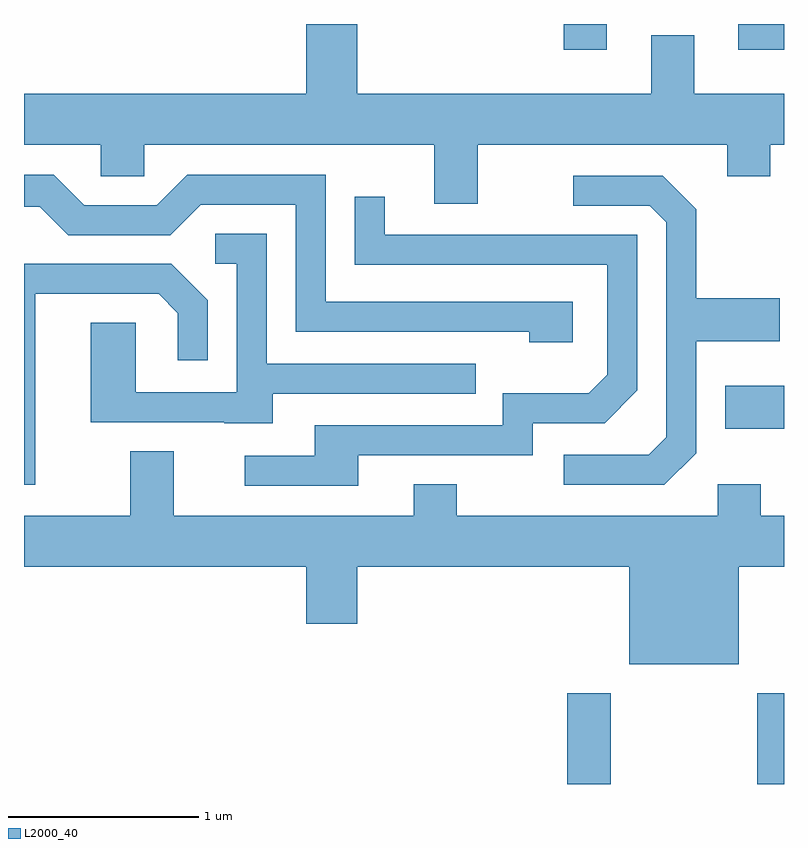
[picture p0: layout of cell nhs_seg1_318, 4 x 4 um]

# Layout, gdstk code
import gdstk
lib = gdstk.Library(unit=1e-6, precision=1e-09)
def R(c, l, rs):  # rectangles x0, y0, x1, y1
    for r in rs: c.add(gdstk.rectangle(r[:2], r[2:], *l))
def P(c, l, *ps):  # polygons
    for p in ps: c.add(gdstk.Polygon(p, *l))
L2000_40 = (2000, 40)

nhs_seg1_318 = lib.new_cell('nhs_seg1_318')
R(nhs_seg1_318, L2000_40, [(196.471,951.712,196.699,952.189), (197.471,951.712,197.611,952.189), (197.301,953.581,197.611,953.809), (196.451,955.576,196.679,955.712), (197.371,955.576,197.611,955.712)])
P(nhs_seg1_318, L2000_40, [(195.999,955.076),(197.311,955.076),(197.311,954.911),(197.539,954.911),(197.539,955.076),(197.611,955.076),(197.611,955.344),(197.139,955.344),(197.139,955.654),(196.911,955.654),(196.911,955.344),(195.364,955.344),(195.364,955.712),(195.096,955.712),(195.096,955.344),(193.611,955.344),(193.611,955.076),(194.016,955.076),(194.016,954.911),(194.244,954.911),(194.244,955.076),(195.771,955.076),(195.771,954.766),(195.999,954.766)],
  [(196.499,954.249),(195.199,954.249),(195.199,954.919),(194.469,954.919),(194.309,954.759),(193.927,954.759),(193.767,954.919),(193.611,954.919),(193.611,954.751),(193.694,954.751),(193.844,954.601),(194.382,954.601),(194.542,954.761),(195.041,954.761),(195.041,954.091),(196.271,954.091),(196.271,954.036),(196.499,954.036)],
  [(197.149,953.454),(197.149,954.041),(197.589,954.041),(197.589,954.269),(197.149,954.269),(197.149,954.737),(196.972,954.914),(196.503,954.914),(196.503,954.756),(196.904,954.756),(196.991,954.669),(196.991,953.537),(196.899,953.444),(196.453,953.444),(196.453,953.286),(196.982,953.286)],
  [(195.369,953.441),(196.289,953.441),(196.289,953.611),(196.667,953.611),(196.839,953.784),(196.839,954.604),(195.509,954.604),(195.509,954.803),(195.351,954.803),(195.351,954.446),(196.681,954.446),(196.681,953.867),(196.584,953.769),(196.131,953.769),(196.131,953.599),(195.141,953.599),(195.141,953.439),(194.773,953.439),(194.773,953.281),(195.369,953.281)],
  [(194.919,953.766),(195.988,953.766),(195.988,953.924),(194.889,953.924),(194.889,954.609),(194.618,954.609),(194.618,954.451),(194.731,954.451),(194.731,953.774),(194.199,953.774),(194.199,954.139),(193.961,954.139),(193.961,953.616),(194.665,953.616),(194.665,953.611),(194.919,953.611)],
  [(193.669,954.291),(194.319,954.291),(194.421,954.189),(194.421,953.943),(194.579,953.943),(194.579,954.257),(194.387,954.449),(193.611,954.449),(193.611,953.286),(193.669,953.286)],
  [(197.374,952.856),(197.611,952.856),(197.611,953.124),(197.489,953.124),(197.489,953.289),(197.261,953.289),(197.261,953.124),(195.889,953.124),(195.889,953.289),(195.661,953.289),(195.661,953.124),(194.399,953.124),(194.399,953.464),(194.171,953.464),(194.171,953.124),(193.611,953.124),(193.611,952.856),(195.096,952.856),(195.096,952.556),(195.364,952.556),(195.364,952.856),(196.796,952.856),(196.796,952.341),(197.374,952.341)])

lib.write_gds('nhs_seg1_318.gds')
